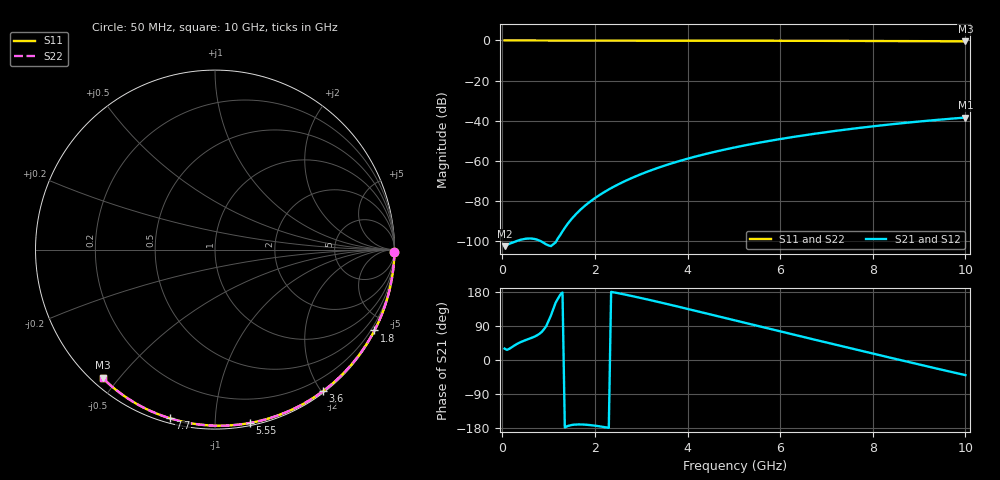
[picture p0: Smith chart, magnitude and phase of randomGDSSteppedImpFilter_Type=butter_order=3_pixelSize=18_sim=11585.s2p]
! freq	dB(S11)	phase(S11)	dB(S12)	phase(S12)
!  dB(S21)	phase(S21)	dB(S22)	phase(S22)
!S-par simulation data
#  GHz  S  DB  R 50
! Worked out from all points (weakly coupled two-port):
!   200 points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, 50 MHz to 10 GHz, reference 50 ohm
!   highest |S21| = -38.38 dB at 10 GHz (marker M1); lowest = -102.4 dB at 50 MHz (marker M2)
!   lowest |S11| = -0.4 dB at 10 GHz (marker M3), VSWR 39.30, Z = 1.53 - j22.6 ohm
!   |S11| at or under -10 dB: nowhere
!   |S22| runs from -0.4 to 0.0 dB; largest |S21 - S12| = 0
!   S11 on the Smith chart (normalised r, x): 50 MHz: open; 1.8 GHz: 0.04, -4.18; 3.6 GHz: 0.02, -2.02; 5.55 GHz: 0.02, -1.22; 7.7 GHz: 0.02, -0.77; 10 GHz: 0.03, -0.45
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0.05  -0.00 -0.8  -102.44 30.2  -102.44 30.2  -0.00 -0.8
0.5  -0.01 -7.6  -98.76 52.3  -98.76 52.3  -0.01 -7.6
0.9  -0.02 -13.6  -100.88 81.0  -100.88 81.0  -0.02 -13.6
1.3  -0.02 -19.5  -95.06 178.1  -95.06 178.1  -0.02 -19.5
1.75  -0.03 -26.2  -82.99 -170.3  -82.99 -170.3  -0.03 -26.2
1.8  -0.03 -26.9  -82.01 -170.7  -82.01 -170.7  -0.03 -26.9
1.9  -0.04 -28.4  -80.19 -171.8  -80.19 -171.8  -0.04 -28.4
2.25  -0.04 -33.5  -74.84 -178.0  -74.84 -178.0  -0.04 -33.5
2.55  -0.05 -37.8  -71.12 175.1  -71.12 175.1  -0.05 -37.8
2.95  -0.06 -43.5  -66.99 164.8  -66.99 164.8  -0.06 -43.5
3.4  -0.07 -49.8  -63.12 152.3  -63.12 152.3  -0.07 -49.8
3.6  -0.07 -52.6  -61.61 146.6  -61.61 146.6  -0.07 -52.6
3.9  -0.08 -56.7  -59.53 137.8  -59.53 137.8  -0.08 -56.7
4.3  -0.09 -62.2  -57.05 126.0  -57.05 126.0  -0.09 -62.2
5.05  -0.11 -72.1  -53.12 103.7  -53.12 103.7  -0.11 -72.1
5.55  -0.13 -78.6  -50.89 88.9  -50.89 88.9  -0.13 -78.6
6.1  -0.15 -85.5  -48.72 72.6  -48.72 72.6  -0.15 -85.5
6.7  -0.18 -92.9  -46.61 55.0  -46.61 55.0  -0.18 -92.9
7.7  -0.24 -104.9  -43.57 25.8  -43.57 25.8  -0.24 -104.9
8.35  -0.29 -112.5  -41.87 6.9  -41.87 6.9  -0.29 -112.5
9.15  -0.36 -121.7  -40.04 -16.1  -40.04 -16.1  -0.36 -121.7
10  -0.44 -131.3  -38.38 -39.9  -38.38 -39.9  -0.44 -131.3
